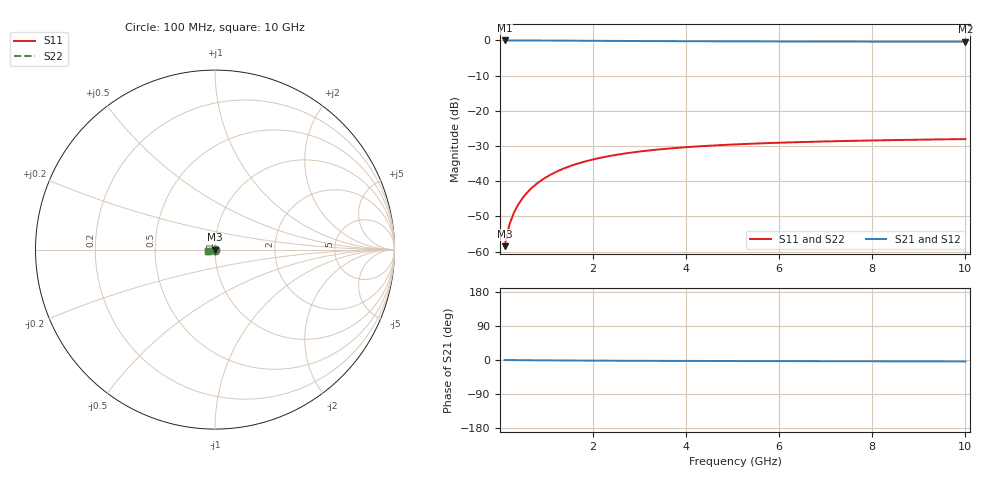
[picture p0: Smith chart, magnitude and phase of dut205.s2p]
! Touchstone file exported from HFSS 2024.1.0
!  File:  C:/UserFiles/LocalFiles/RDL_TSV_Batchsim/temp_TSV1_205_1778757477.aedt
!  Generated:  07:23:30 PM May 14, 2026
!  Design:  TSV1
!  Project:  temp_TSV1_205_1778757477
!  Setup:  Setup1
!  Solution:  Sweep
! Variables:
!  dtsv = 14.01um
!  hbump = 3um
!  htsv = 55.87um
!  lrdl = 252.1521522um
!  p = 40
!  p1 = 54.13um
!  t = 500um
!  trdl = 3um
!  wrdl = 24.89489489um
# GHz S MA R 50.000000
! Terminal data exported
! Port[1] = TSV22_T1
! Port[2] = TSV22_T2
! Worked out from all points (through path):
!   100 points, 100 MHz to 10 GHz, reference 50 ohm
!   highest |S21| = 0.00 dB at 100 MHz (marker M1); lowest = -0.4 dB at 10 GHz (marker M2)
!   lowest |S11| = -58.5 dB at 100 MHz (marker M3), VSWR 1.00, Z = 50 - j0.119 ohm
!   |S11| at or under -10 dB: start of sweep to end of sweep
!   |S22| runs from -58.5 to -28.0 dB; largest |S21 - S12| = 3.1e-15
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0.1  0.001195 -88.6  0.9999 -0.1  0.9999 -0.1  0.001195 -88.6
! Gamma 0 0 0 0
! Port Impedance 50 0 50 0
0.2  0.002388 -91.9  0.9998 -0.2  0.9998 -0.2  0.002388 -91.9
0.3  0.003579 -94.3  0.9995 -0.3  0.9995 -0.3  0.003579 -94.3
0.4  0.004763 -96.4  0.9993 -0.4  0.9993 -0.4  0.004763 -96.4
0.5  0.005935 -98.4  0.9989 -0.5  0.9989 -0.5  0.005935 -98.4
0.6  0.007089 -100.4  0.9985 -0.6  0.9985 -0.6  0.007089 -100.4
0.7  0.008224 -102.3  0.998 -0.7  0.998 -0.7  0.008224 -102.3
0.8  0.009336 -104.1  0.9975 -0.8  0.9975 -0.8  0.009336 -104.1
0.9  0.01042 -106.0  0.9969 -0.9  0.9969 -0.9  0.01042 -106.0
1.1  0.01251 -109.5  0.9956 -1.1  0.9956 -1.1  0.01251 -109.5
1.4  0.01542 -114.4  0.9934 -1.3  0.9934 -1.3  0.01542 -114.4
1.6  0.0172 -117.5  0.9918 -1.4  0.9918 -1.4  0.0172 -117.5
1.8  0.01885 -120.5  0.9902 -1.6  0.9902 -1.6  0.01885 -120.5
2.1  0.0211 -124.6  0.9878 -1.7  0.9878 -1.7  0.0211 -124.6
2.5  0.0237 -129.5  0.9847 -1.9  0.9847 -1.9  0.0237 -129.5
2.9  0.02591 -133.9  0.9819 -2.1  0.9819 -2.1  0.02591 -133.9
3.4  0.02821 -138.7  0.9786 -2.3  0.9786 -2.3  0.02821 -138.7
4.2  0.03107 -145.3  0.9743 -2.5  0.9743 -2.5  0.03107 -145.3
5.1  0.03345 -151.2  0.9704 -2.7  0.9704 -2.7  0.03345 -151.2
6.7  0.03634 -159.5  0.9655 -3.1  0.9655 -3.1  0.03634 -159.5
8.4  0.03835 -166.3  0.9621 -3.5  0.9621 -3.5  0.03835 -166.3
10  0.03969 -171.6  0.9599 -3.9  0.9599 -3.9  0.03969 -171.6
